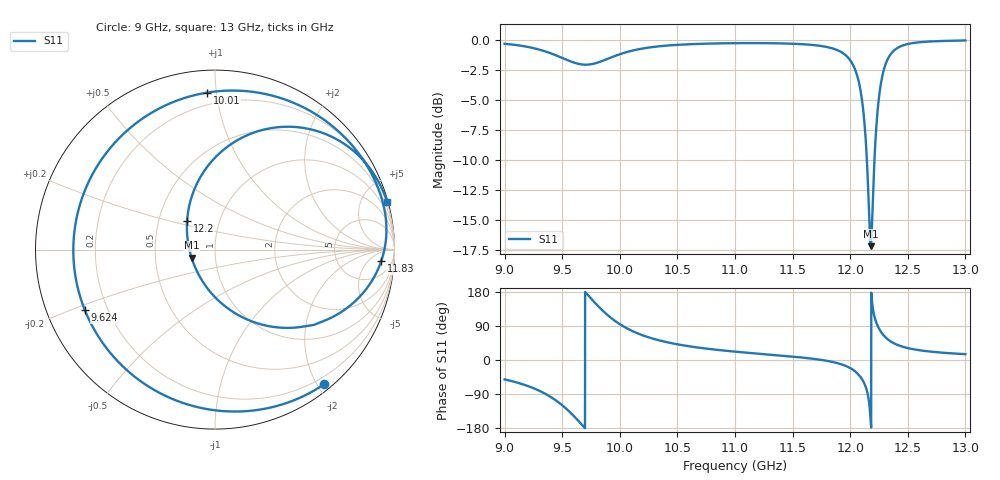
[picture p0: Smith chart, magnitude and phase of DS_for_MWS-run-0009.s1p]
! TOUCHSTONE file generated by CST DESIGN STUDIO
! Date and time: Tue Feb  4 17:29:53 2025
! Project name: C:\Work\MatlabApps\UnitCellOptimizationMatlab\CST\unitcell.cst
! Tree item: Tasks\Sweep1\SPara1\S-Parameters
! Header version: 2024
! Port assignment regex: !\s*Touchstone port\s*([0-9]+)\s*=\s*(CST MWS port|CST DES external port|CST DES block port)\s*(.+)\s* \(\"(.*)\"\)(\s*mode\s*([0-9]+))?.*
! Touchstone port assignment:
! Touchstone port 1 = CST DES external port 1 ("")
# GHz S MA R 50
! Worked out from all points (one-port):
!   4001 points, 9 GHz to 13 GHz, reference 50 ohm
!   lowest |S11| = -17.2 dB at 12.18 GHz (marker M1), VSWR 1.32, Z = 38.3 - j3.49 ohm
!   |S11| at or under -10 dB: 12.14 GHz to 12.21 GHz (65.61 MHz wide, 0.539 % of centre)
!   S11 on the Smith chart (normalised r, x): 9 GHz: 0.10, -2.09; 9.624 GHz: 0.12, -0.22; 10.01 GHz: 0.13, +0.94; 11.83 GHz: 14, -13; 12.2 GHz: 0.70, +0.24; 13 GHz: 0.10, +7.39
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9  0.9651 -51.1
9.167  0.9431 -65.0
9.32  0.9072 -83.9
9.417  0.8747 -100.8
9.5  0.8424 -119.3
9.624  0.7996 -155.1
9.698  0.7895 -180.0
9.772  0.7967 154.9
9.883  0.831 121.5
10  0.8729 94.6
10.009  0.8758 92.9
10.227  0.9271 62.1
10.5  0.9553 41.4
11  0.9708 22.0
11.5  0.9656 8.9
11.829  0.9282 -4.0
12  0.824 -21.3
12.06  0.7118 -34.8
12.111  0.5209 -55.0
12.144  0.3222 -79.7
12.165  0.1827 -114.5
12.178  0.1381 -161.1
12.198  0.2244 133.8
12.236  0.4956 91.8
12.288  0.7394 65.9
12.376  0.9008 44.7
12.5  0.9631 31.5
13  0.9965 15.4
